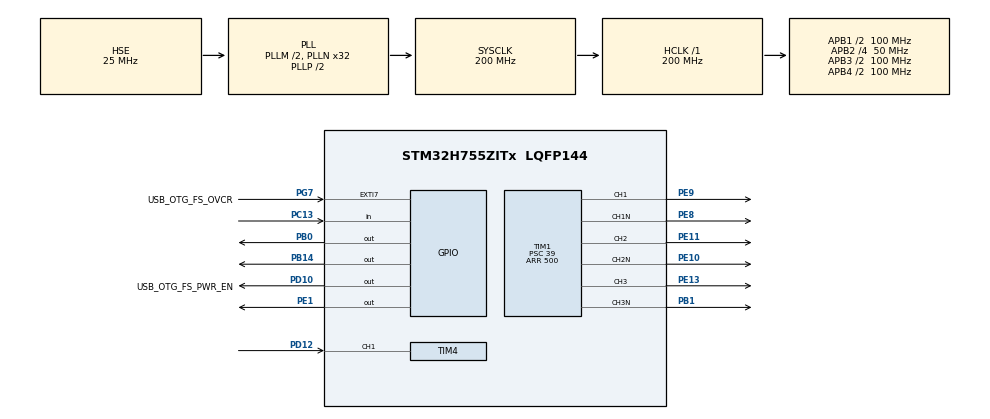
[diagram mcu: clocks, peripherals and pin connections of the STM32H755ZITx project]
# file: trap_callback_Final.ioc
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CortexM4.IPs=FATFS_M4\:I,FREERTOS_M4\:I,IWDG2\:I,RCC,WWDG2\:I,DMA,BDMA,MDMA,NVIC2\:I,ETH,USART3,DEBUG,PDM2PCM_M4\:I,PWR,RESMGR_UTILITY,SYS_M4\:I,USB_DEVICE_M4\:I,USB_HOST_M4\:I,CORTEX_M4\:I,GPIO,OPENAMP_M4\:I,VREFBUF,NUCLEO-H755ZI-Q
CortexM7.IPs=FATFS_M7\:I,FREERTOS_M7\:I,IWDG1\:I,RCC\:I,WWDG1\:I,DMA\:I,BDMA\:I,MDMA\:I,NVIC1\:I,ETH\:I,USART3\:I,USB_OTG_FS\:I,SYS\:I,CORTEX_M7\:I,DEBUG\:I,PDM2PCM_M7\:I,PWR\:I,RESMGR_UTILITY\:I,USB_DEVICE_M7\:I,USB_HOST_M7\:I,GPIO\:I,OPENAMP_M7\:I,VREFBUF\:I,NUCLEO-H755ZI-Q\:I,TIM1\:I,TIM4\:I
Mcu.Family=STM32H7
Mcu.Name=STM32H755ZITx
Mcu.Package=LQFP144
NUCLEO-H755ZI-Q.BUTTON=1
NUCLEO-H755ZI-Q.LD1=true
NUCLEO-H755ZI-Q.LD2=true
NUCLEO-H755ZI-Q.LD3=true
NUCLEO-H755ZI-Q.VCP=true
NVIC1.EXTI15_10_IRQn=true\:0\:0\:false\:false\:true\:false\:true\:true
NVIC1.PriorityGroup=NVIC_PRIORITYGROUP_4
NVIC1.TIM4_IRQn=true\:0\:0\:false\:false\:true\:true\:true\:true
NVIC2.PriorityGroup=NVIC_PRIORITYGROUP_4
PA1.PinAttribute=CortexM7
PA1.Signal=ETH_REF_CLK
PA11.PinAttribute=CortexM7
PA11.Signal=USB_OTG_FS_DM
PA12.PinAttribute=CortexM7
PA12.Signal=USB_OTG_FS_DP
PA2.PinAttribute=CortexM7
PA2.Signal=ETH_MDIO
PA7.PinAttribute=CortexM7
PA7.Signal=ETH_CRS_DV
PA8.PinAttribute=CortexM7
PA8.Signal=USB_OTG_FS_SOF
PA9.PinAttribute=CortexM7
PA9.Signal=USB_OTG_FS_VBUS
PB0.Signal=GPIO_Output
PB1.Mode=PWM Generation3 CH3 CH3N
PB1.PinAttribute=CortexM7
PB1.Signal=TIM1_CH3N
PB13.PinAttribute=CortexM7
PB13.Signal=ETH_TXD1
PB14.Signal=GPIO_Output
PC1.PinAttribute=CortexM7
PC1.Signal=ETH_MDC
PC13.Signal=GPIO_Input
PC14-OSC32_IN\ (OSC32_IN).PinAttribute=Free
PC14-OSC32_IN\ (OSC32_IN).Signal=RCC_OSC32_IN
PC15-OSC32_OUT\ (OSC32_OUT).PinAttribute=Free
PC15-OSC32_OUT\ (OSC32_OUT).Signal=RCC_OSC32_OUT
PC4.PinAttribute=CortexM7
PC4.Signal=ETH_RXD0
PC5.PinAttribute=CortexM7
PC5.Signal=ETH_RXD1
PD10.GPIO_Label=USB_OTG_FS_PWR_EN
PD10.PinAttribute=Free
PD10.Signal=GPIO_Output
PD12.PinAttribute=CortexM7
PD12.Signal=S_TIM4_CH1
PD8.Signal=USART3_TX
PD9.Signal=USART3_RX
PE1.Signal=GPIO_Output
PE10.Mode=PWM Generation2 CH2 CH2N
PE10.PinAttribute=CortexM7
PE10.Signal=TIM1_CH2N
PE11.PinAttribute=CortexM7
PE11.Signal=S_TIM1_CH2
PE13.PinAttribute=CortexM7
PE13.Signal=S_TIM1_CH3
PE8.Mode=PWM Generation1 CH1 CH1N
PE8.PinAttribute=CortexM7
PE8.Signal=TIM1_CH1N
PE9.PinAttribute=CortexM7
PE9.Signal=S_TIM1_CH1
PG11.PinAttribute=CortexM7
PG11.Signal=ETH_TX_EN
PG13.PinAttribute=CortexM7
PG13.Signal=ETH_TXD0
PG7.GPIO_Label=USB_OTG_FS_OVCR
PG7.PinAttribute=Free
PG7.Signal=GPXTI7
PH0-OSC_IN\ (PH0).Mode=HSE-External-Oscillator
PH0-OSC_IN\ (PH0).PinAttribute=Free
PH0-OSC_IN\ (PH0).Signal=RCC_OSC_IN
PH1-OSC_OUT\ (PH1).Mode=HSE-External-Oscillator
PH1-OSC_OUT\ (PH1).PinAttribute=Free
PH1-OSC_OUT\ (PH1).Signal=RCC_OSC_OUT
ProjectManager.HeapSize=M4-0x200,M7-0x200
ProjectManager.StackSize=M4-0x400,M7-0x400
ProjectManager.TargetToolchain=STM32CubeIDE
RCC.ADCFreq_Value=50390625
RCC.APB1Freq_Value=100000000
RCC.APB2Freq_Value=50000000
RCC.APB3Freq_Value=100000000
RCC.APB4Freq_Value=100000000
RCC.CortexFreq_Value=200000000
RCC.D1PPRE=RCC_APB3_DIV2
RCC.D2PPRE1=RCC_APB1_DIV2
RCC.D2PPRE2=RCC_APB2_DIV4
RCC.D3PPRE=RCC_APB4_DIV2
RCC.DIVM1=2
RCC.DIVN1=32
RCC.DIVQ1=5
RCC.HCLKFreq_Value=200000000
RCC.PLL2FRACN=0
RCC.PLL3FRACN=0
RCC.PLLFRACN=0
RCC.PLLSourceVirtual=RCC_PLLSOURCE_HSE
RCC.SYSCLKFreq_VALUE=200000000
RCC.SYSCLKSource=RCC_SYSCLKSOURCE_PLLCLK
RCC.SupplySource=PWR_DIRECT_SMPS_SUPPLY
RCC.USBFreq_Value=80000000
SH.S_TIM1_CH1.0=TIM1_CH1,PWM Generation1 CH1 CH1N
SH.S_TIM1_CH2.0=TIM1_CH2,PWM Generation2 CH2 CH2N
SH.S_TIM1_CH3.0=TIM1_CH3,PWM Generation3 CH3 CH3N
SH.S_TIM4_CH1.0=TIM4_CH1,Input_Capture1_from_TI1
TIM1.AutoReloadPreload=TIM_AUTORELOAD_PRELOAD_ENABLE
TIM1.Channel-PWM\ Generation1\ CH1\ CH1N=TIM_CHANNEL_1
TIM1.Channel-PWM\ Generation2\ CH2\ CH2N=TIM_CHANNEL_2
TIM1.Channel-PWM\ Generation3\ CH3\ CH3N=TIM_CHANNEL_3
TIM1.CounterMode=TIM_COUNTERMODE_CENTERALIGNED1
TIM1.OCNPolarity_1=TIM_OCNPOLARITY_LOW
TIM1.OCNPolarity_2=TIM_OCNPOLARITY_LOW
TIM1.OCNPolarity_3=TIM_OCNPOLARITY_LOW
TIM1.Period=500
TIM1.Prescaler=39
TIM4.AutoReloadPreload=TIM_AUTORELOAD_PRELOAD_ENABLE
TIM4.Channel-Input_Capture1_from_TI1=TIM_CHANNEL_1
TIM4.Period=500
TIM4.Prescaler=100
VP_NUCLEO-H755ZI-Q_VS_BSP_COMMON.Mode=COMMON
VP_SYS_M4_VS_Systick.Mode=SysTick
VP_TIM1_VS_ClockSourceINT.Mode=Internal
VP_TIM4_VS_ClockSourceINT.Mode=Internal
board=NUCLEO-H755ZI-Q

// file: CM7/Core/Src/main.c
/* USER CODE BEGIN Header */
/**
 ******************************************************************************
 * @file           : main.c
 * @brief          : Main program body
 ******************************************************************************
 * @attention
 *
 * Copyright (c) 2025 STMicroelectronics.
 * All rights reserved.
 *
 * This software is licensed under terms that can be found in the LICENSE file
 * in the root directory of this software component.
 * If no LICENSE file comes with this software, it is provided AS-IS.
 *
 ******************************************************************************
 */

/**
 * @brief Open Loop 6-Step BLDC Motor Control
 *
 * This project implements an open-loop six-step commutation algorithm for the BLDC motor A2212/13T.
 * It utilizes the IHM08M! motor controller on a Nucleo-H755ZQ (STM32) board.
 *
 * Key Details:
 * - Timer 1: Generates PWM signals with ARR set to 30000; duty cycle is controlled by varying the CCR bits.
 * - Timer 4: Provides periodic callbacks to update the commutation sequence.
 * - Clock Configurations: APB2 clock frequencies set to 100Hz and 50Hz for different functionalities.
 *
 * This concise setup ensures proper phase switching and PWM modulation for effective motor control.
 */

/* USER CODE END Header */
#include "main.h"

/* USER CODE BEGIN PD */

#ifndef HSEM_ID_0
#define HSEM_ID_0 (0U) /* HW semaphore 0*/
#endif

/* USER CODE END PD */

/* USER CODE BEGIN PM */
// #define PWM_MIN_DUTY   5
// #define PWM_MAX_DUTY   43
/* USER CODE END PM */

COM_InitTypeDef BspCOMInit;

TIM_HandleTypeDef htim1;
TIM_HandleTypeDef htim4;

/* USER CODE BEGIN PV */
volatile uint8_t step = 0;
volatile uint16_t _duty = 99;
volatile uint8_t repeat = 10;
volatile uint8_t rpm_preset_t = 0;
volatile uint16_t period = 30000;
/* USER CODE END PV */

void SystemClock_Config(void);
static void MX_GPIO_Init(void);
static void MX_TIM1_Init(void);
static void MX_TIM4_Init(void);
/* USER CODE BEGIN PFP */

/* This function sets the PWM duty cycle and starts or stops PWM outputs on Timer 1
 * based on the current commutation step (0-5). Each step corresponds to a specific
 * switching pattern across three phases (channels), which is essential for driving
 * a BLDC motor in a six-step commutation scheme.
 */
void SetCommutationStep(uint8_t step, uint16_t _duty);

/* USER CODE END PFP */

int main(void)
{

  /* USER CODE BEGIN Boot_Mode_Sequence_0 */
  int32_t timeout;
  /* USER CODE END Boot_Mode_Sequence_0 */

  /* USER CODE BEGIN Boot_Mode_Sequence_1 */
  /* Wait until CPU2 boots and enters in stop mode or timeout*/
  timeout = 0xFFFF;
  while ((__HAL_RCC_GET_FLAG(RCC_FLAG_D2CKRDY) != RESET) && (timeout-- > 0))
    ;
  if (timeout < 0)
  {
    Error_Handler();
  }
  /* USER CODE END Boot_Mode_Sequence_1 */
  /* MCU Configuration--------------------------------------------------------*/

  /* Reset of all peripherals, Initializes the Flash interface and the Systick. */
  HAL_Init();

  /* Configure the system clock */
  SystemClock_Config();
  /* USER CODE BEGIN Boot_Mode_Sequence_2 */
  /* When system initialization is finished, Cortex-M7 will release Cortex-M4 by means of
  HSEM notification */
  /*HW semaphore Clock enable*/
  __HAL_RCC_HSEM_CLK_ENABLE();
  /*Take HSEM */
  HAL_HSEM_FastTake(HSEM_ID_0);
  /*Release HSEM in order to notify the CPU2(CM4)*/
  HAL_HSEM_Release(HSEM_ID_0, 0);
  /* wait until CPU2 wakes up from stop mode */
  timeout = 0xFFFF;
  while ((__HAL_RCC_GET_FLAG(RCC_FLAG_D2CKRDY) == RESET) && (timeout-- > 0))
    ;
  if (timeout < 0)
  {
    Error_Handler();
  }
  /* USER CODE END Boot_Mode_Sequence_2 */

  /* Initialize all configured peripherals */
  MX_GPIO_Init();
  MX_TIM1_Init();
  MX_TIM4_Init();

  /* USER CODE BEGIN 2 */
  /**
   * @brief Initialize Timer and PWM outputs for BLDC Motor Control.
   *
   * This initialization sequence performs the following actions:
   * 1. Starts Timer 4 in interrupt mode to generate periodic interrupts for commutation updates.
   * 2. Activates PWM generation on Timer 1 across all three channels.
   * 3. Enables complementary PWM outputs for Timer 1 channels (used for driving both the high-side
   *    and low-side switches in the motor driver).
   * 4. Calls SetCommutationStep() to set the initial commutation step and PWM duty cycle.
   */

  // Start Timer 4 in interrupt mode. This timer triggers periodic interrupts
  // (via HAL_TIM_PeriodElapsedCallback) to update the motor commutation sequence.
  HAL_TIM_Base_Start_IT(&htim4);

  // Start PWM generation on Timer 1 for all three channels. These channels control the
  // main outputs for the BLDC motor phases.
  HAL_TIM_PWM_Start(&htim1, TIM_CHANNEL_1);
  HAL_TIM_PWM_Start(&htim1, TIM_CHANNEL_2);
  HAL_TIM_PWM_Start(&htim1, TIM_CHANNEL_3);

  // Start the complementary PWM outputs on Timer 1 for each channel. Complementary outputs
  // are essential for properly controlling both sides of the half-bridge in the motor driver.
  HAL_TIMEx_PWMN_Start(&htim1, TIM_CHANNEL_1);
  HAL_TIMEx_PWMN_Start(&htim1, TIM_CHANNEL_2);
  HAL_TIMEx_PWMN_Start(&htim1, TIM_CHANNEL_3);

  // Initialize the motor control by setting the initial commutation step and PWM duty cycle.
  // This function configures the correct PWM signal routing based on the current commutation step.
  SetCommutationStep(step, _duty);
  /* USER CODE END 2 */

  /* Initialize leds */
  BSP_LED_Init(LED_GREEN);
  BSP_LED_Init(LED_YELLOW);
  BSP_LED_Init(LED_RED);

  /* Initialize USER push-button, will be used to trigger an interrupt each time it's pressed.*/
  BSP_PB_Init(BUTTON_USER, BUTTON_MODE_EXTI);

  /* Initialize COM1 port (115200, 8 bits (7-bit data + 1 stop bit), no parity */
  BspCOMInit.BaudRate = 115200;
  BspCOMInit.WordLength = COM_WORDLENGTH_8B;
  BspCOMInit.StopBits = COM_STOPBITS_1;
  BspCOMInit.Parity = COM_PARITY_NONE;
  BspCOMInit.HwFlowCtl = COM_HWCONTROL_NONE;
  if (BSP_COM_Init(COM1, &BspCOMInit) != BSP_ERROR_NONE)
  {
    Error_Handler();
  }

  /* Infinite loop */
  while (1)
  {

  }
}

void SystemClock_Config(void)
{
  RCC_OscInitTypeDef RCC_OscInitStruct = {0};
  RCC_ClkInitTypeDef RCC_ClkInitStruct = {0};

  /** Supply configuration update enable
   */
  HAL_PWREx_ConfigSupply(PWR_DIRECT_SMPS_SUPPLY);

  /** Configure the main internal regulator output voltage
   */
  __HAL_PWR_VOLTAGESCALING_CONFIG(PWR_REGULATOR_VOLTAGE_SCALE3);

  while (!__HAL_PWR_GET_FLAG(PWR_FLAG_VOSRDY))
  {
  }

  /** Initializes the RCC Oscillators according to the specified parameters
   * in the RCC_OscInitTypeDef structure.
   */
  RCC_OscInitStruct.OscillatorType = RCC_OSCILLATORTYPE_HSE;
  RCC_OscInitStruct.HSEState = RCC_HSE_ON;
  RCC_OscInitStruct.PLL.PLLState = RCC_PLL_ON;
  RCC_OscInitStruct.PLL.PLLSource = RCC_PLLSOURCE_HSE;
  RCC_OscInitStruct.PLL.PLLM = 2;
  RCC_OscInitStruct.PLL.PLLN = 32;
  RCC_OscInitStruct.PLL.PLLP = 2;
  RCC_OscInitStruct.PLL.PLLQ = 5;
  RCC_OscInitStruct.PLL.PLLR = 2;
  RCC_OscInitStruct.PLL.PLLRGE = RCC_PLL1VCIRANGE_3;
  RCC_OscInitStruct.PLL.PLLVCOSEL = RCC_PLL1VCOWIDE;
  RCC_OscInitStruct.PLL.PLLFRACN = 0;
  if (HAL_RCC_OscConfig(&RCC_OscInitStruct) != HAL_OK)
  {
    Error_Handler();
  }

  /** Initializes the CPU, AHB and APB buses clocks
   */
  RCC_ClkInitStruct.ClockType = RCC_CLOCKTYPE_HCLK | RCC_CLOCKTYPE_SYSCLK | RCC_CLOCKTYPE_PCLK1 | RCC_CLOCKTYPE_PCLK2 | RCC_CLOCKTYPE_D3PCLK1 | RCC_CLOCKTYPE_D1PCLK1;
  RCC_ClkInitStruct.SYSCLKSource = RCC_SYSCLKSOURCE_PLLCLK;
  RCC_ClkInitStruct.SYSCLKDivider = RCC_SYSCLK_DIV1;
  RCC_ClkInitStruct.AHBCLKDivider = RCC_HCLK_DIV1;
  RCC_ClkInitStruct.APB3CLKDivider = RCC_APB3_DIV2;
  RCC_ClkInitStruct.APB1CLKDivider = RCC_APB1_DIV2;
  RCC_ClkInitStruct.APB2CLKDivider = RCC_APB2_DIV4;
  RCC_ClkInitStruct.APB4CLKDivider = RCC_APB4_DIV2;

  if (HAL_RCC_ClockConfig(&RCC_ClkInitStruct, FLASH_LATENCY_4) != HAL_OK)
  {
    Error_Handler();
  }
}

static void MX_TIM1_Init(void)
{

  TIM_ClockConfigTypeDef sClockSourceConfig = {0};
  TIM_MasterConfigTypeDef sMasterConfig = {0};
  TIM_OC_InitTypeDef sConfigOC = {0};
  TIM_BreakDeadTimeConfigTypeDef sBreakDeadTimeConfig = {0};

  htim1.Instance = TIM1;
  htim1.Init.Prescaler = 0;
  htim1.Init.CounterMode = TIM_COUNTERMODE_CENTERALIGNED1;
  htim1.Init.Period = 500;
  htim1.Init.ClockDivision = TIM_CLOCKDIVISION_DIV1;
  htim1.Init.RepetitionCounter = 0;
  htim1.Init.AutoReloadPreload = TIM_AUTORELOAD_PRELOAD_ENABLE;
  if (HAL_TIM_Base_Init(&htim1) != HAL_OK)
  {
    Error_Handler();
  }
  sClockSourceConfig.ClockSource = TIM_CLOCKSOURCE_INTERNAL;
  if (HAL_TIM_ConfigClockSource(&htim1, &sClockSourceConfig) != HAL_OK)
  {
    Error_Handler();
  }
  if (HAL_TIM_PWM_Init(&htim1) != HAL_OK)
  {
    Error_Handler();
  }
  sMasterConfig.MasterOutputTrigger = TIM_TRGO_RESET;
  sMasterConfig.MasterOutputTrigger2 = TIM_TRGO2_RESET;
  sMasterConfig.MasterSlaveMode = TIM_MASTERSLAVEMODE_DISABLE;
  if (HAL_TIMEx_MasterConfigSynchronization(&htim1, &sMasterConfig) != HAL_OK)
  {
    Error_Handler();
  }
  sConfigOC.OCMode = TIM_OCMODE_PWM1;
  sConfigOC.Pulse = 0;
  sConfigOC.OCPolarity = TIM_OCPOLARITY_HIGH;
  sConfigOC.OCNPolarity = TIM_OCNPOLARITY_LOW;
  sConfigOC.OCFastMode = TIM_OCFAST_DISABLE;
  sConfigOC.OCIdleState = TIM_OCIDLESTATE_RESET;
  sConfigOC.OCNIdleState = TIM_OCNIDLESTATE_RESET;
  if (HAL_TIM_PWM_ConfigChannel(&htim1, &sConfigOC, TIM_CHANNEL_1) != HAL_OK)
  {
    Error_Handler();
  }
  if (HAL_TIM_PWM_ConfigChannel(&htim1, &sConfigOC, TIM_CHANNEL_2) != HAL_OK)
  {
    Error_Handler();
  }
  if (HAL_TIM_PWM_ConfigChannel(&htim1, &sConfigOC, TIM_CHANNEL_3) != HAL_OK)
  {
    Error_Handler();
  }
  sBreakDeadTimeConfig.OffStateRunMode = TIM_OSSR_DISABLE;
  sBreakDeadTimeConfig.OffStateIDLEMode = TIM_OSSI_DISABLE;
  sBreakDeadTimeConfig.LockLevel = TIM_LOCKLEVEL_OFF;
  sBreakDeadTimeConfig.DeadTime = 0;
  sBreakDeadTimeConfig.BreakState = TIM_BREAK_DISABLE;
  sBreakDeadTimeConfig.BreakPolarity = TIM_BREAKPOLARITY_HIGH;
  sBreakDeadTimeConfig.BreakFilter = 0;
  sBreakDeadTimeConfig.Break2State = TIM_BREAK2_DISABLE;
  sBreakDeadTimeConfig.Break2Polarity = TIM_BREAK2POLARITY_HIGH;
  sBreakDeadTimeConfig.Break2Filter = 0;
  sBreakDeadTimeConfig.AutomaticOutput = TIM_AUTOMATICOUTPUT_DISABLE;
  if (HAL_TIMEx_ConfigBreakDeadTime(&htim1, &sBreakDeadTimeConfig) != HAL_OK)
  {
    Error_Handler();
  }
  HAL_TIM_MspPostInit(&htim1);
}

static void MX_TIM4_Init(void)
{

  TIM_ClockConfigTypeDef sClockSourceConfig = {0};
  TIM_MasterConfigTypeDef sMasterConfig = {0};
  TIM_IC_InitTypeDef sConfigIC = {0};

  htim4.Instance = TIM4;
  htim4.Init.Prescaler = 0;
  htim4.Init.CounterMode = TIM_COUNTERMODE_UP;
  htim4.Init.Period = 100;
  htim4.Init.ClockDivision = TIM_CLOCKDIVISION_DIV1;
  htim4.Init.AutoReloadPreload = TIM_AUTORELOAD_PRELOAD_ENABLE;
  if (HAL_TIM_Base_Init(&htim4) != HAL_OK)
  {
    Error_Handler();
  }
  sClockSourceConfig.ClockSource = TIM_CLOCKSOURCE_INTERNAL;
  if (HAL_TIM_ConfigClockSource(&htim4, &sClockSourceConfig) != HAL_OK)
  {
    Error_Handler();
  }
  if (HAL_TIM_IC_Init(&htim4) != HAL_OK)
  {
    Error_Handler();
  }
  sMasterConfig.MasterOutputTrigger = TIM_TRGO_RESET;
  sMasterConfig.MasterSlaveMode = TIM_MASTERSLAVEMODE_DISABLE;
  if (HAL_TIMEx_MasterConfigSynchronization(&htim4, &sMasterConfig) != HAL_OK)
  {
    Error_Handler();
  }
  sConfigIC.ICPolarity = TIM_INPUTCHANNELPOLARITY_RISING;
  sConfigIC.ICSelection = TIM_ICSELECTION_DIRECTTI;
  sConfigIC.ICPrescaler = TIM_ICPSC_DIV1;
  sConfigIC.ICFilter = 0;
  if (HAL_TIM_IC_ConfigChannel(&htim4, &sConfigIC, TIM_CHANNEL_1) != HAL_OK)
  {
    Error_Handler();
  }
}

static void MX_GPIO_Init(void)
{
  GPIO_InitTypeDef GPIO_InitStruct = {0};

  /* GPIO Ports Clock Enable */
  __HAL_RCC_GPIOC_CLK_ENABLE();
  __HAL_RCC_GPIOA_CLK_ENABLE();
  __HAL_RCC_GPIOB_CLK_ENABLE();
  __HAL_RCC_GPIOE_CLK_ENABLE();
  __HAL_RCC_GPIOD_CLK_ENABLE();
  __HAL_RCC_GPIOG_CLK_ENABLE();

  /*Configure GPIO pins : PC1 PC4 PC5 */
  GPIO_InitStruct.Pin = GPIO_PIN_1 | GPIO_PIN_4 | GPIO_PIN_5;
  GPIO_InitStruct.Mode = GPIO_MODE_AF_PP;
  GPIO_InitStruct.Pull = GPIO_NOPULL;
  GPIO_InitStruct.Speed = GPIO_SPEED_FREQ_LOW;
  GPIO_InitStruct.Alternate = GPIO_AF11_ETH;
  HAL_GPIO_Init(GPIOC, &GPIO_InitStruct);

  /*Configure GPIO pins : PA1 PA2 PA7 */
  GPIO_InitStruct.Pin = GPIO_PIN_1 | GPIO_PIN_2 | GPIO_PIN_7;
  GPIO_InitStruct.Mode = GPIO_MODE_AF_PP;
  GPIO_InitStruct.Pull = GPIO_NOPULL;
  GPIO_InitStruct.Speed = GPIO_SPEED_FREQ_LOW;
  GPIO_InitStruct.Alternate = GPIO_AF11_ETH;
  HAL_GPIO_Init(GPIOA, &GPIO_InitStruct);

  /*Configure GPIO pin : PB13 */
  GPIO_InitStruct.Pin = GPIO_PIN_13;
  GPIO_InitStruct.Mode = GPIO_MODE_AF_PP;
  GPIO_InitStruct.Pull = GPIO_NOPULL;
  GPIO_InitStruct.Speed = GPIO_SPEED_FREQ_LOW;
  GPIO_InitStruct.Alternate = GPIO_AF11_ETH;
  HAL_GPIO_Init(GPIOB, &GPIO_InitStruct);

  /*Configure GPIO pins : PA8 PA11 PA12 */
  GPIO_InitStruct.Pin = GPIO_PIN_8 | GPIO_PIN_11 | GPIO_PIN_12;
  GPIO_InitStruct.Mode = GPIO_MODE_AF_PP;
  GPIO_InitStruct.Pull = GPIO_NOPULL;
  GPIO_InitStruct.Speed = GPIO_SPEED_FREQ_LOW;
  GPIO_InitStruct.Alternate = GPIO_AF10_OTG1_FS;
  HAL_GPIO_Init(GPIOA, &GPIO_InitStruct);

  /*Configure GPIO pins : PG11 PG13 */
  GPIO_InitStruct.Pin = GPIO_PIN_11 | GPIO_PIN_13;
  GPIO_InitStruct.Mode = GPIO_MODE_AF_PP;
  GPIO_InitStruct.Pull = GPIO_NOPULL;
  GPIO_InitStruct.Speed = GPIO_SPEED_FREQ_LOW;
  GPIO_InitStruct.Alternate = GPIO_AF11_ETH;
  HAL_GPIO_Init(GPIOG, &GPIO_InitStruct);

}

/* USER CODE BEGIN 4 */
/**
 * @brief Timer period elapsed callback for BLDC motor control.
 *
 * This callback is triggered when a timer (here, TIM4) reaches its period.
 * It implements a six-step commutation sequence for a sensorless BLDC motor by
 * selecting a commutation step and adjusting the PWM duty cycle based on the RPM preset.
 *
 * The RPM preset (rpm_preset_t) determines how the repetition counter (repeat)
 * and the PWM duty cycle (_duty) are adjusted:
 *   - Preset 1: Gradually reduce the repeat counter until it reaches 4,
 *               increasing the duty cycle by 10 for each decrement.
 *   - Preset 2: Similar to preset 1, but the repeat counter is reduced until it
 *               reaches 2.
 *   - Preset 3: Immediately set the repeat counter to 0 and increment the duty cycle.
 *
 * After updating the PWM parameters, the function calls SetCommutationStep() to
 * update the PWM outputs for the current commutation step, cycles to the next step,
 * and then updates the timer registers (auto-reload and repetition counter) for the next cycle.
 *
 * @param htim Pointer to the timer handle structure.
 */
void HAL_TIM_PeriodElapsedCallback(TIM_HandleTypeDef *htim)
{
  // Verify that the interrupt is from Timer 4
  if (htim->Instance == TIM4)
  {
    // Adjust PWM duty and repetition counter based on the selected RPM preset
    switch (rpm_preset_t) // RPM Preset selection
    {
    case 1:
      // For Preset 1: Decrement 'repeat' until it reaches 4, increasing _duty by 10 on each decrement.
      while (repeat > 4)
      {
        repeat--;
        _duty += 10;
      }
      break;

    case 2:
      // For Preset 2: Decrement 'repeat' until it reaches 2, increasing _duty by 10 on each decrement.
      while (repeat > 2)
      {
        repeat--;
        _duty += 10;
      }
      break;

    case 3:
      // For Preset 3: Immediately reset 'repeat' to 0 and increase _duty by 10.
      repeat = 0;
      _duty += 10;
      break;
    }

    // Update PWM outputs based on the current commutation step.
    // This function handles the switching of active/inactive PWM channels.
    SetCommutationStep(step, _duty);

    // Cycle through the 6-step commutation sequence for the BLDC motor.
    if (++step >= 6)
    {
      step = 0; // Reset step count after completing one full cycle.
    }

    // Update the timer's auto-reload value and repetition counter for the next PWM cycle.
    __HAL_TIM_SET_AUTORELOAD(&htim1, period);
    htim1.Instance->RCR = repeat;
  }
}

/**
 * @brief Configures PWM channels for a specific BLDC motor commutation step.
 *
 * This function sets the PWM duty cycle and starts or stops PWM outputs on Timer 1
 * based on the current commutation step (0-5). Each step corresponds to a specific
 * switching pattern across three phases (channels), which is essential for driving
 * a BLDC motor in a six-step commutation scheme.
 *
 * For each commutation step:
 *   - One phase is driven with the PWM signal at the specified duty cycle.
 *   - Another phase is either pulled low (set to 0) or disabled.
 *   - The third phase is turned off to ensure the correct conduction path.
 *
 * Note: The mapping between channels and motor phases should be verified
 * according to the hardware design and motor driver configuration.
 *
 * @param step The current commutation step (0 to 5).
 * @param duty The PWM duty cycle to be applied.
 */
void SetCommutationStep(uint8_t step, uint16_t duty)
{
  switch (step)
  {
  case 0:
    // Commutation Step 0:
    // - Phase A (TIM_CHANNEL_1): PWM active with given duty.
    // - Phase B (TIM_CHANNEL_2): Set low (compare = 0) but PWM clock is running.
    // - Phase C (TIM_CHANNEL_3): PWM outputs stopped.
    __HAL_TIM_SET_COMPARE(&htim1, TIM_CHANNEL_1, duty);
    HAL_TIM_PWM_Start(&htim1, TIM_CHANNEL_1);
    HAL_TIMEx_PWMN_Start(&htim1, TIM_CHANNEL_1);

    __HAL_TIM_SET_COMPARE(&htim1, TIM_CHANNEL_2, 0);
    HAL_TIM_PWM_Start(&htim1, TIM_CHANNEL_2);
    HAL_TIMEx_PWMN_Start(&htim1, TIM_CHANNEL_2);

    HAL_TIM_PWM_Stop(&htim1, TIM_CHANNEL_3);
    HAL_TIMEx_PWMN_Stop(&htim1, TIM_CHANNEL_3);
    break;

  case 1:
    // Commutation Step 1:
    // - Phase A (TIM_CHANNEL_1): PWM active with given duty.
    // - Phase B (TIM_CHANNEL_2): PWM outputs stopped.
    // - Phase C (TIM_CHANNEL_3): Set low (compare = 0) and activated.
    __HAL_TIM_SET_COMPARE(&htim1, TIM_CHANNEL_1, duty);
    HAL_TIM_PWM_Start(&htim1, TIM_CHANNEL_1);
    HAL_TIMEx_PWMN_Start(&htim1, TIM_CHANNEL_1);

    HAL_TIM_PWM_Stop(&htim1, TIM_CHANNEL_2);
    HAL_TIMEx_PWMN_Stop(&htim1, TIM_CHANNEL_2);

    __HAL_TIM_SET_COMPARE(&htim1, TIM_CHANNEL_3, 0);
    HAL_TIM_PWM_Start(&htim1, TIM_CHANNEL_3);
    HAL_TIMEx_PWMN_Start(&htim1, TIM_CHANNEL_3);
    break;

  case 3:
    // Commutation Step 3:
    // - Phase A (TIM_CHANNEL_1): Set low (compare = 0) and activated.
    // - Phase B (TIM_CHANNEL_2): PWM active with given duty.
    // - Phase C (TIM_CHANNEL_3): PWM outputs stopped.
    __HAL_TIM_SET_COMPARE(&htim1, TIM_CHANNEL_1, 0);
    HAL_TIM_PWM_Start(&htim1, TIM_CHANNEL_1);
    HAL_TIMEx_PWMN_Start(&htim1, TIM_CHANNEL_1);

    __HAL_TIM_SET_COMPARE(&htim1, TIM_CHANNEL_2, duty);
    HAL_TIM_PWM_Start(&htim1, TIM_CHANNEL_2);
    HAL_TIMEx_PWMN_Start(&htim1, TIM_CHANNEL_2);

    HAL_TIM_PWM_Stop(&htim1, TIM_CHANNEL_3);
    HAL_TIMEx_PWMN_Stop(&htim1, TIM_CHANNEL_3);
    break;

  case 2:
    // Commutation Step 2:
    // - Phase A (TIM_CHANNEL_1): PWM outputs stopped.
    // - Phase B (TIM_CHANNEL_2): PWM active with given duty.
    // - Phase C (TIM_CHANNEL_3): Set low (compare = 0) and activated.
    HAL_TIM_PWM_Stop(&htim1, TIM_CHANNEL_1);
    HAL_TIMEx_PWMN_Stop(&htim1, TIM_CHANNEL_1);

    __HAL_TIM_SET_COMPARE(&htim1, TIM_CHANNEL_2, duty);
    HAL_TIM_PWM_Start(&htim1, TIM_CHANNEL_2);
    HAL_TIMEx_PWMN_Start(&htim1, TIM_CHANNEL_2);

    __HAL_TIM_SET_COMPARE(&htim1, TIM_CHANNEL_3, 0);
    HAL_TIM_PWM_Start(&htim1, TIM_CHANNEL_3);
    HAL_TIMEx_PWMN_Start(&htim1, TIM_CHANNEL_3);
    break;

  case 4:
    // Commutation Step 4:
    // - Phase A (TIM_CHANNEL_1): Set low (compare = 0) and activated.
    // - Phase B (TIM_CHANNEL_2): PWM outputs stopped.
    // - Phase C (TIM_CHANNEL_3): PWM active with given duty.
    __HAL_TIM_SET_COMPARE(&htim1, TIM_CHANNEL_1, 0);
    HAL_TIM_PWM_Start(&htim1, TIM_CHANNEL_1);
    HAL_TIMEx_PWMN_Start(&htim1, TIM_CHANNEL_1);

    HAL_TIM_PWM_Stop(&htim1, TIM_CHANNEL_2);
    HAL_TIMEx_PWMN_Stop(&htim1, TIM_CHANNEL_2);

    __HAL_TIM_SET_COMPARE(&htim1, TIM_CHANNEL_3, duty);
    HAL_TIM_PWM_Start(&htim1, TIM_CHANNEL_3);
    HAL_TIMEx_PWMN_Start(&htim1, TIM_CHANNEL_3);
    break;

  case 5:
    // Commutation Step 5:
    // - Phase A (TIM_CHANNEL_1): PWM outputs stopped.
    // - Phase B (TIM_CHANNEL_2): Set low (compare = 0) and activated.
    // - Phase C (TIM_CHANNEL_3): PWM active with given duty.
    HAL_TIM_PWM_Stop(&htim1, TIM_CHANNEL_1);
    HAL_TIMEx_PWMN_Stop(&htim1, TIM_CHANNEL_1);

    __HAL_TIM_SET_COMPARE(&htim1, TIM_CHANNEL_2, 0);
    HAL_TIM_PWM_Start(&htim1, TIM_CHANNEL_2);
    HAL_TIMEx_PWMN_Start(&htim1, TIM_CHANNEL_2);

    __HAL_TIM_SET_COMPARE(&htim1, TIM_CHANNEL_3, duty);
    HAL_TIM_PWM_Start(&htim1, TIM_CHANNEL_3);
    HAL_TIMEx_PWMN_Start(&htim1, TIM_CHANNEL_3);
    break;

  default:
    // Default case: Safety fallback to stop all PWM outputs.
    // This ensures that if an invalid commutation step is provided,
    // all channels are disabled to prevent unintended motor behavior.
    HAL_TIM_PWM_Stop(&htim1, TIM_CHANNEL_1);
    HAL_TIMEx_PWMN_Stop(&htim1, TIM_CHANNEL_1);
    HAL_TIM_PWM_Stop(&htim1, TIM_CHANNEL_2);
    HAL_TIMEx_PWMN_Stop(&htim1, TIM_CHANNEL_2);
    HAL_TIM_PWM_Stop(&htim1, TIM_CHANNEL_3);
    HAL_TIMEx_PWMN_Stop(&htim1, TIM_CHANNEL_3);
    break;
  }
}

/* USER CODE END 4 */

void Error_Handler(void)
{
  __disable_irq();
  while (1)
  {
  }
}
